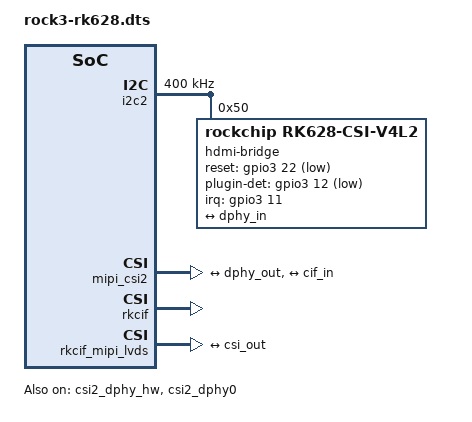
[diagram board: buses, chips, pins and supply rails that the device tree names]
// Zero 3 and ROCK 3C routing follows Radxa's rock-3c-radxa-hdmi-in-4k-rk628
// overlay. The adapter's INT and DET leads connect to header pins 29 and 31.
/dts-v1/;
/plugin/;

/ {
    compatible = "radxa,rock-3c", "radxa,zero3";
};

&i2c2 {
    status = "okay";
    clock-frequency = <400000>;
    pinctrl-names = "default";
    pinctrl-0 = <&i2c2m1_xfer>;
    #address-cells = <1>;
    #size-cells = <0>;

    hdmi-bridge@50 {
        compatible = "rockchip,rk628-csi-v4l2";
        reg = <0x50>;
        interrupt-parent = <&gpio3>;
        interrupts = <11 4>;
        reset-gpios = <&gpio3 22 1>;
        plugin-det-gpios = <&gpio3 12 1>;
        continues-clk = <1>;
        pinctrl-names = "default";
        pinctrl-0 = <&openhd_rk628_pins>;
        rockchip,camera-module-index = <0>;
        rockchip,camera-module-facing = "back";
        rockchip,camera-module-name = "HDMI-MIPI";
        rockchip,camera-module-lens-name = "RK628-CSI";

        port {
            rk628_out: endpoint {
                remote-endpoint = <&dphy_in>;
                data-lanes = <1 2>;
            };
        };
    };
};

&pinctrl {
    openhd-hdmi {
        openhd_rk628_pins: rk628-pins {
            rockchip,pins = <3 11 0 &pcfg_pull_up>,
                            <3 22 0 &pcfg_pull_none>,
                            <3 12 0 &pcfg_pull_none>;
        };
    };
};

&csi2_dphy_hw { status = "okay"; };

&csi2_dphy0 {
    status = "okay";
    ports {
        #address-cells = <1>;
        #size-cells = <0>;
        port@0 {
            reg = <0>;
            #address-cells = <1>;
            #size-cells = <0>;
            dphy_in: endpoint@1 {
                reg = <1>;
                remote-endpoint = <&rk628_out>;
                data-lanes = <1 2>;
            };
        };
        port@1 {
            reg = <1>;
            dphy_out: endpoint { remote-endpoint = <&csi_in>; };
        };
    };
};

&mipi_csi2 {
    status = "okay";
    ports {
        #address-cells = <1>;
        #size-cells = <0>;
        port@0 {
            reg = <0>;
            #address-cells = <1>;
            #size-cells = <0>;
            csi_in: endpoint@1 {
                reg = <1>;
                remote-endpoint = <&dphy_out>;
            };
        };
        port@1 {
            reg = <1>;
            csi_out: endpoint { remote-endpoint = <&cif_in>; };
        };
    };
};

&rkcif { status = "okay"; };
&rkcif_mmu { status = "okay"; };
&rkcif_mipi_lvds {
    status = "okay";
    port {
        cif_in: endpoint { remote-endpoint = <&csi_out>; };
    };
};
